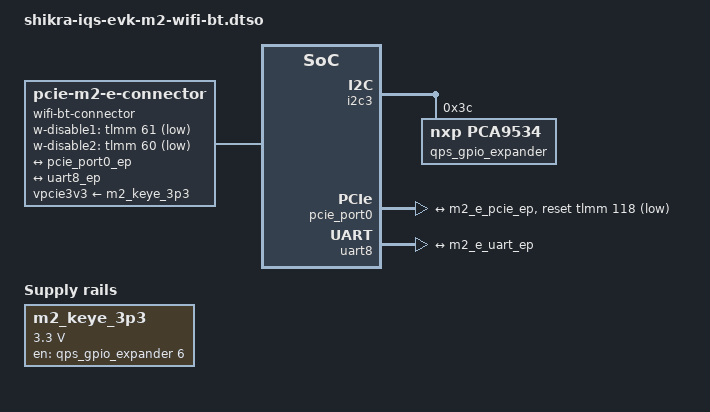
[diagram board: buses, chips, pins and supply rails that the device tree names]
// SPDX-License-Identifier: BSD-3-Clause
/*
 * Copyright (c) 2026 Qualcomm Technologies, Inc. and/or its subsidiaries.
 */

/dts-v1/;
/plugin/;

#include <dt-bindings/gpio/gpio.h>

&{/} {
	m2_keye_3p3: regulator-m2-keye-3p3 {
		compatible = "regulator-fixed";
		regulator-name = "VREG_3P3_KEYE";
		regulator-min-microvolt = <3300000>;
		regulator-max-microvolt = <3300000>;
		gpio = <&qps_gpio_expander 6 GPIO_ACTIVE_HIGH>;
		enable-active-high;
	};

	wifi-bt-connector {
		compatible = "pcie-m2-e-connector";

		vpcie3v3-supply = <&m2_keye_3p3>;
		w-disable1-gpios = <&tlmm 61 GPIO_ACTIVE_LOW>;
		w-disable2-gpios = <&tlmm 60 GPIO_ACTIVE_LOW>;

		ports {
			#address-cells = <1>;
			#size-cells = <0>;

			port@0 {
				reg = <0>;
				#address-cells = <1>;
				#size-cells = <0>;

				m2_e_pcie_ep: endpoint@0 {
					reg = <0>;
					remote-endpoint = <&pcie_port0_ep>;
				};
			};

			port@3 {
				reg = <3>;
				#address-cells = <1>;
				#size-cells = <0>;

				m2_e_uart_ep: endpoint@0 {
					reg = <0>;
					remote-endpoint = <&uart8_ep>;
				};
			};
		};
	};
};

&{/wcn3988-pmu} {
	status = "disabled";
};

&i2c3 {
	qps_gpio_expander: gpio@3c {
		compatible = "nxp,pca9534";
		reg = <0x3c>;
		gpio-controller;
		#gpio-cells = <2>;
	};
};

&pcie {
	iommu-map = <0x0 &apps_smmu 0x0800 0x0 0x1>,
		    <0x100 &apps_smmu 0x0801 0x0 0x1>;
	vddpe-3v3-supply = <&m2_keye_3p3>;
};

&pcie_port0 {
	compatible = "pciclass,0604";
	reset-gpios = <&tlmm 118 GPIO_ACTIVE_LOW>;

	port {
		pcie_port0_ep: endpoint {
			remote-endpoint = <&m2_e_pcie_ep>;
		};
	};
};

&tc9563 {
	status = "disabled";
};

&uart8 {
	bluetooth {
		status = "disabled";
	};

	port {
		uart8_ep: endpoint {
			remote-endpoint = <&m2_e_uart_ep>;
		};
	};
};

&wifi {
	status = "disabled";
};
